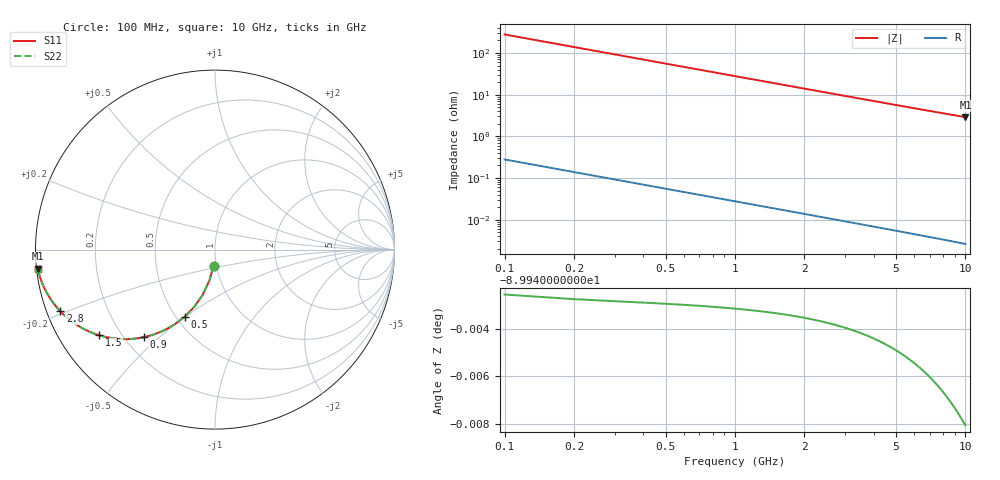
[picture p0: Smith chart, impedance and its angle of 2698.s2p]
# Hz S RI R 50.00
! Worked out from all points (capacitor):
!   100 points, 100 MHz to 10 GHz, reference 50 ohm
!   read as one part in shunt: C = 5.72 pF near 100 MHz
!   lowest |Z| = 2.89 ohm at 10 GHz (marker M1)
!   S11 on the Smith chart (normalised r, x): 100 MHz: 0.97, -0.17; 500 MHz: 0.55, -0.50; 900 MHz: 0.28, -0.45; 1.5 GHz: 0.12, -0.33; 2.8 GHz: 0.04, -0.19; 10 GHz: 0.00, -0.05
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1e8  -0.00809 -0.0891  0.9919 -0.0892  0.9919 -0.0892  -0.00809 -0.0891
2e8  -0.0314 -0.1739  0.9685 -0.1741  0.9685 -0.1741  -0.0314 -0.1739
3e8  -0.0679 -0.251  0.932 -0.2513  0.932 -0.2513  -0.0679 -0.251
4e8  -0.1146 -0.3179  0.8854 -0.3182  0.8854 -0.3182  -0.1146 -0.3179
5e8  -0.1681 -0.3732  0.8319 -0.3737  0.8319 -0.3737  -0.1681 -0.3732
6e8  -0.2253 -0.417  0.7747 -0.4175  0.7747 -0.4175  -0.2253 -0.417
7e8  -0.2834 -0.4499  0.7166 -0.4504  0.7166 -0.4504  -0.2834 -0.4499
8e8  -0.3405 -0.473  0.6595 -0.4737  0.6595 -0.4737  -0.3405 -0.473
9e8  -0.395 -0.488  0.6049 -0.4887  0.6049 -0.4887  -0.395 -0.488
1e9  -0.4462 -0.4962  0.5538 -0.497  0.5538 -0.497  -0.4462 -0.4962
1.2e9  -0.5368 -0.4977  0.4631 -0.4986  0.4631 -0.4986  -0.5368 -0.4977
1.5e9  -0.6439 -0.4777  0.3561 -0.4789  0.3561 -0.4789  -0.6439 -0.4777
1.8e9  -0.7222 -0.4467  0.2777 -0.4481  0.2777 -0.4481  -0.7222 -0.4467
2e9  -0.7623 -0.4243  0.2377 -0.426  0.2377 -0.426  -0.7623 -0.4243
2.3e9  -0.809 -0.3916  0.191 -0.3935  0.191 -0.3935  -0.809 -0.3916
2.8e9  -0.8624 -0.3429  0.1376 -0.3452  0.1376 -0.3452  -0.8624 -0.3429
3.4e9  -0.9021 -0.2952  0.0978 -0.298  0.0978 -0.298  -0.9021 -0.2952
4.2e9  -0.9335 -0.2469  0.0665 -0.2504  0.0665 -0.2504  -0.9335 -0.2469
5.1e9  -0.9538 -0.2072  0.0461 -0.2114  0.0461 -0.2114  -0.9538 -0.2072
6.7e9  -0.9727 -0.1596  0.0273 -0.1652  0.0273 -0.1652  -0.9727 -0.1596
8.4e9  -0.9825 -0.1271  0.0175 -0.1342  0.0175 -0.1342  -0.9825 -0.1271
1e10  -0.9876 -0.1058  0.0124 -0.1143  0.0124 -0.1143  -0.9876 -0.1058
